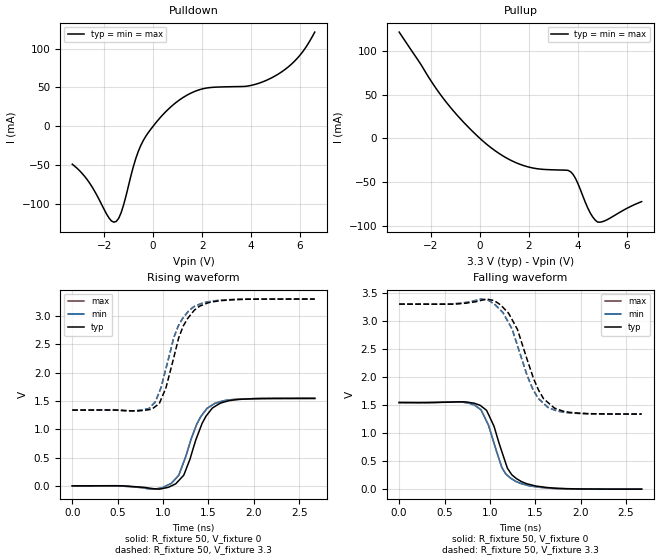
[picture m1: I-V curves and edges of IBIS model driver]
| IBIS file ex2_fast_5ps_tr100ps.ibs created by PYS2IBIS3
| Missouri S&T EMC Lab
[IBIS Ver] 7.1
[File Name] ex2_fast_5ps_tr100ps.ibs
[File Rev] 1.0
[Date] July 28, 2026
[Source] ex2 buffer.sp characterized with s2ibispy and HSPICE
[Notes] Parameter selection; sim_time=2.673e-09, tr=tf=1.000e-10.
[Disclaimer] Experimental characterization for pybis observability study.
[Component] MCM Driver 1
[Manufacturer] MegaFLOPS Inc.
[Package]
| variable   typ   min   max
R_pkg 0 NA NA
L_pkg 0H NA NA
C_pkg 0F NA NA
[Pin]  signal_name   model_name   R_pin   L_pin   C_pin
vdd   vdd   POWER
gnd   gnd   GND
| in in dummy
out   out   driver
| End of Component
| Models and submodels in the file (1): driver (Output)
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[Model] driver
Model_type Output
Polarity Non-Inverting
Enable Active-Low
Vinl  = 0.8V
Vinh  = 2V
C_comp 5.0000pF 5.0000pF 5.0000pF
[Temperature Range] 27.0000 27.0000 27.0000
[Voltage Range] 3.3000V 3.3000V 3.3000V
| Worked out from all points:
|   slope of the pulldown table from 0 to 0.495 V, typ, clamps not added: 27.4 ohm
|   slope of the pullup table from 0 to 0.495 V, typ, clamps not added: 42.7 ohm
|   rising waveform, R_fixture 50, V_fixture 0: 20-80 % time 218ps typ, 220ps min, 220ps max; typ from 0 V to 1.54 V
|   rising waveform, R_fixture 50, V_fixture 3.3: 20-80 % time 220ps typ, 220ps min, 220ps max; typ from 1.34 V to 3.3 V
|   falling waveform, R_fixture 50, V_fixture 0: 20-80 % time 205ps typ, 205ps min, 205ps max; typ from 1.54 V to 0 V
|   falling waveform, R_fixture 50, V_fixture 3.3: 20-80 % time 265ps typ, 265ps min, 265ps max; typ from 3.3 V to 1.34 V
[Pulldown]
| Voltage   I(typ)   I(min)   I(max)
-3.3V     -48.93mA   -48.93mA   -48.93mA
-2.6V     -72.86mA   -72.86mA   -72.86mA
-1.8V     -118.2mA   -118.2mA   -118.2mA
-1.5V     -122.5mA   -122.5mA   -122.5mA
-1.3V     -110.9mA   -110.9mA   -110.9mA
-500mV    -24.59mA   -24.59mA   -24.59mA
600mV     21.34mA    21.34mA    21.34mA
1.9V      47.12mA    47.12mA    47.12mA
3.9V      51.99mA    51.99mA    51.99mA
4.9V      63.38mA    63.38mA    63.38mA
5.9V      87.99mA    87.99mA    87.99mA
6.6V      121.3mA    121.3mA    121.3mA
[Pullup]
| Voltage   I(typ)   I(min)   I(max)
-3.3V     122mA      122mA      122mA
-1.9V     61.75mA    61.75mA    61.75mA
-1.3V     38.86mA    38.86mA    38.86mA
-200mV    5.278mA    5.278mA    5.278mA
700mV     -15.75mA   -15.75mA   -15.75mA
2V        -32.92mA   -32.92mA   -32.92mA
3.7V      -38.24mA   -38.24mA   -38.24mA
3.9V      -45.89mA   -45.89mA   -45.89mA
4.5V      -85.43mA   -85.43mA   -85.43mA
4.8V      -95.97mA   -95.97mA   -95.97mA
5.1V      -94.48mA   -94.48mA   -94.48mA
6.6V      -72.53mA   -72.53mA   -72.53mA
[Ramp]
| variable   typ   min   max
dV/dt_r 0.9270/0.2186n 0.9270/0.2195n 0.9270/0.2195n
dV/dt_f 1.1766/0.2653n 1.1766/0.2652n 1.1766/0.2652n
R_load = 50
[Rising Waveform]
R_fixture = 50
V_fixture = 0
|time   V(typ)   V(min)   V(max)
0s        7.302nV    7.302nV    7.302nV
853.4ps   -42.06mV   -56.61mV   -56.61mV
1.057ns   -28.09mV   16.42mV    16.42mV
1.172ns   89.75mV    183.3mV    183.3mV
1.228ns   186.5mV    413.9mV    413.9mV
1.407ns   1.008V     1.2V       1.2V
1.469ns   1.219V     1.334V     1.334V
1.57ns    1.401V     1.457V     1.457V
1.811ns   1.524V     1.53V      1.53V
2.673ns   1.545V     1.545V     1.545V
[Rising Waveform]
R_fixture = 50
V_fixture = 3.3
|time   V(typ)   V(min)   V(max)
0s        1.338V     1.338V     1.338V
807.9ps   1.336V     1.354V     1.354V
915ps     1.401V     1.483V     1.483V
957.8ps   1.453V     1.653V     1.653V
1.033ns   1.734V     2.065V     2.065V
1.166ns   2.577V     2.818V     2.818V
1.223ns   2.823V     2.97V      2.97V
1.346ns   3.105V     3.171V     3.171V
1.702ns   3.283V     3.287V     3.287V
2.673ns   3.3V       3.3V       3.3V
[Falling Waveform]
R_fixture = 50
V_fixture = 0
|time   V(typ)   V(min)   V(max)
0s        1.545V     1.545V     1.545V
687.6ps   1.557V     1.555V     1.555V
893.6ps   1.494V     1.425V     1.425V
981.8ps   1.343V     1.153V     1.153V
1.041ns   1.143V     840.7mV    840.7mV
1.129ns   683.3mV    394.7mV    394.7mV
1.193ns   373.2mV    245mV      245mV
1.34ns    141.5mV    101mV      101mV
1.726ns   14.98mV    12mV       12mV
2.673ns   117.3uV    78.21uV    78.21uV
[Falling Waveform]
R_fixture = 50
V_fixture = 3.3
|time   V(typ)   V(min)   V(max)
0s        3.3V       3.3V       3.3V
901.6ps   3.366V     3.39V      3.39V
1.043ns   3.366V     3.306V     3.306V
1.148ns   3.236V     3.139V     3.139V
1.247ns   3.018V     2.848V     2.848V
1.303ns   2.851V     2.566V     2.566V
1.469ns   2.023V     1.799V     1.799V
1.637ns   1.548V     1.461V     1.461V
1.883ns   1.369V     1.36V      1.36V
2.673ns   1.339V     1.339V     1.339V
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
